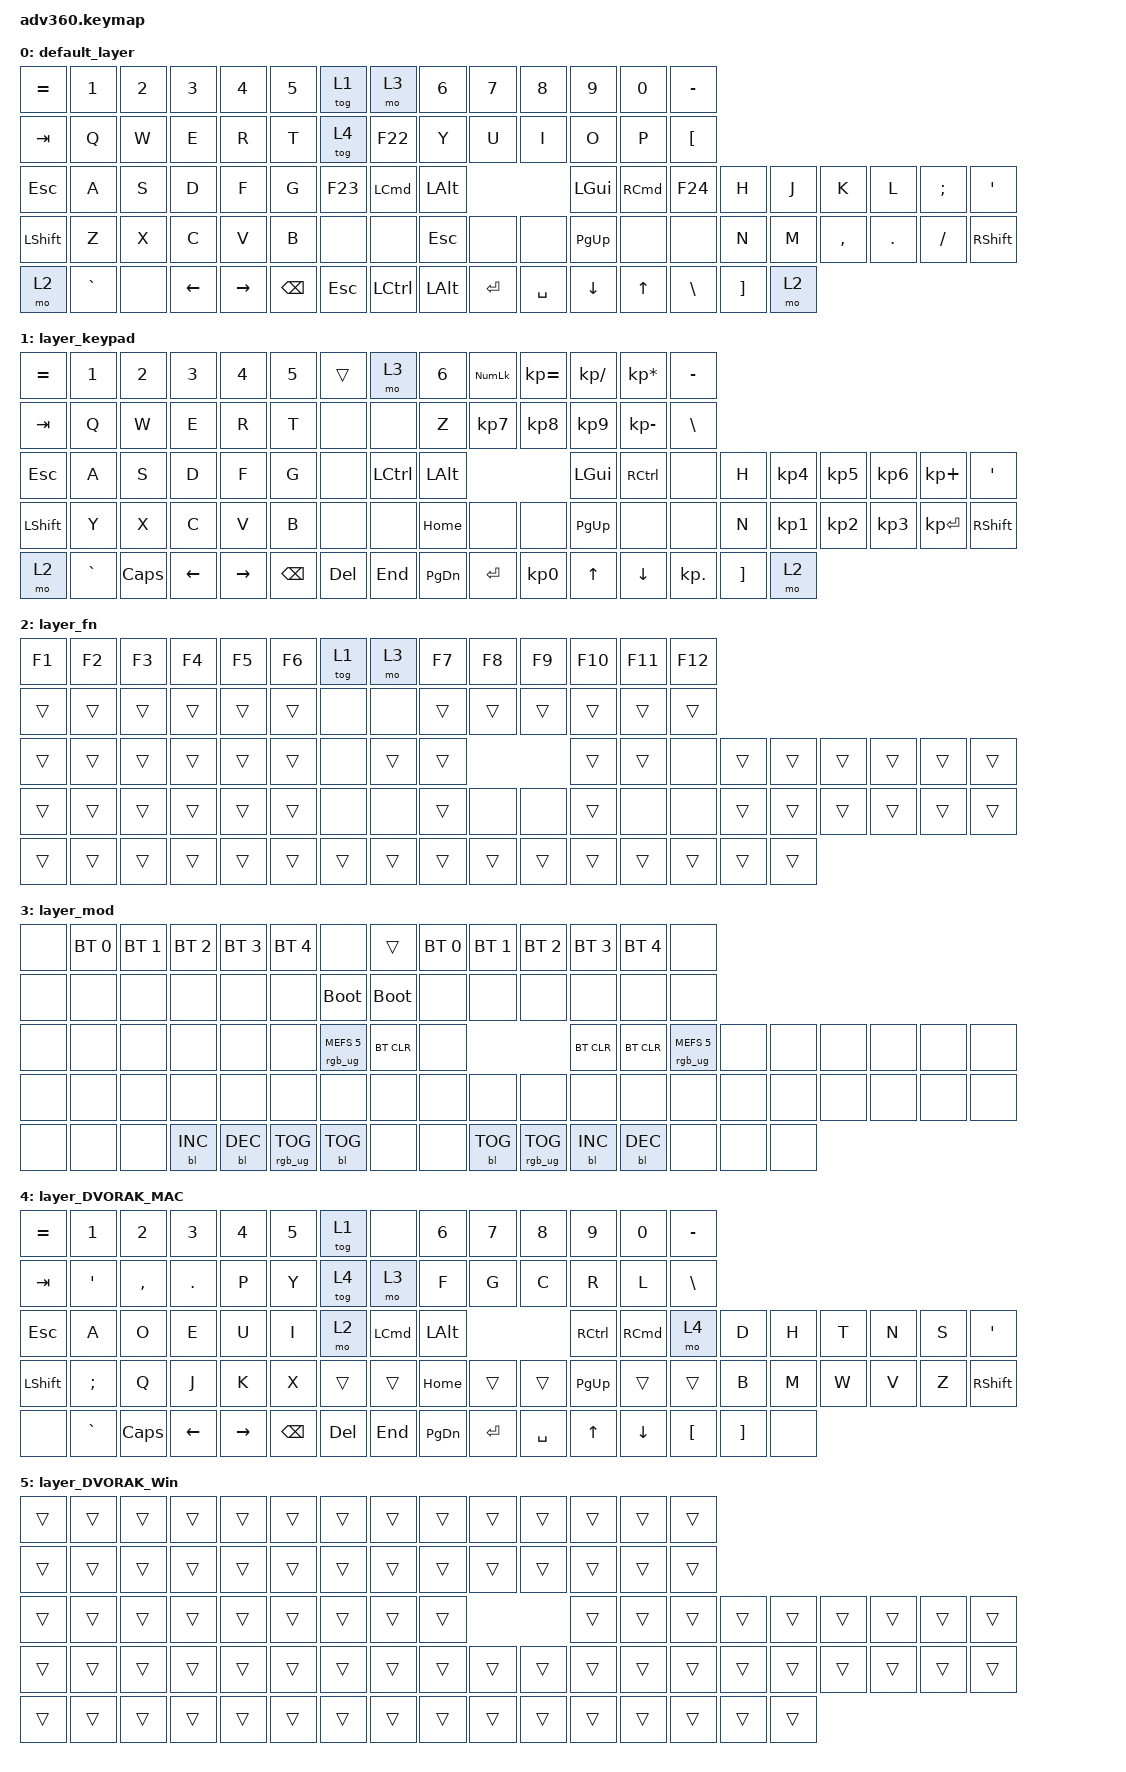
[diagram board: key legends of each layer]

/*
 * Copyright (c) 2020 The ZMK Contributors
 *
 * SPDX-License-Identifier: MIT
 */


/* THIS FILE WAS GENERATED!
 *
 * This file was generated automatically. You may or may not want to
 * edit it directly.
 */

#include <behaviors.dtsi>
#include <dt-bindings/zmk/keys.h>
#include <dt-bindings/zmk/bt.h>
#include <dt-bindings/zmk/rgb.h>
#include <dt-bindings/zmk/backlight.h>

/ {
  behaviors {
    #include "macros.dtsi"

    hm: homerow_mods {
        compatible = "zmk,behavior-hold-tap";
        label = "HOMEROW_MODS";
        #binding-cells = <2>;
        tapping-term-ms = <200>;
        quick_tap_ms = <175>;
        flavor = "tap-preferred";
        bindings = <&kp>, <&kp>;
    };
  };

    keymap {
        compatible = "zmk,keymap";


        default_layer {
            bindings = <
 &kp EQUAL     &kp N1  &kp N2    &kp N3     &kp N4    &kp N5             &tog 1             &mo 3      &kp N6     &kp N7     &kp N8     &kp N9             &kp N0         &kp MINUS
   &kp TAB      &kp Q   &kp W     &kp E      &kp R     &kp T             &tog 4           &kp F22       &kp Y      &kp U      &kp I      &kp O              &kp P  &kp LEFT_BRACKET
   &kp ESC      &kp A   &kp S     &kp D      &kp F     &kp G            &kp F23  &kp LEFT_COMMAND    &kp LALT                         &kp LGUI  &kp RIGHT_COMMAND           &kp F24     &kp H   &kp J      &kp K    &kp L  &kp SEMI    &kp SQT
 &kp LSHFT      &kp Z   &kp X     &kp C      &kp V     &kp B              &none             &none  &kp ESCAPE      &none      &none  &kp PG_UP              &none             &none     &kp N   &kp M  &kp COMMA  &kp DOT  &kp FSLH  &kp RSHFT
     &mo 2  &kp GRAVE   &none  &kp LEFT  &kp RIGHT  &kp BSPC            &kp ESC  &kp LEFT_CONTROL    &kp LALT  &kp ENTER  &kp SPACE   &kp DOWN             &kp UP     &kp BACKSLASH  &kp RBKT   &mo 2
            >;
        };

        layer_keypad {
            bindings = <
 &kp EQUAL     &kp N1    &kp N2    &kp N3     &kp N4    &kp N5             &trans      &mo 3     &kp N6  &kp KP_NUM  &kp KP_EQUAL  &kp KP_DIVIDE  &kp KP_MULTIPLY   &kp MINUS
   &kp TAB      &kp Q     &kp W     &kp E      &kp R     &kp T              &none      &none      &kp Z   &kp KP_N7     &kp KP_N8      &kp KP_N9     &kp KP_MINUS    &kp BSLH
   &kp ESC      &kp A     &kp S     &kp D      &kp F     &kp G              &none  &kp LCTRL   &kp LALT                                 &kp LGUI        &kp RCTRL       &none     &kp H  &kp KP_N4  &kp KP_N5  &kp KP_N6   &kp KP_PLUS    &kp SQT
 &kp LSHFT      &kp Y     &kp X     &kp C      &kp V     &kp B              &none      &none   &kp HOME       &none         &none      &kp PG_UP            &none       &none     &kp N  &kp KP_N1  &kp KP_N2  &kp KP_N3  &kp KP_ENTER  &kp RSHFT
     &mo 2  &kp GRAVE  &kp CAPS  &kp LEFT  &kp RIGHT  &kp BSPC            &kp DEL    &kp END  &kp PG_DN   &kp ENTER     &kp KP_N0         &kp UP         &kp DOWN  &kp KP_DOT  &kp RBKT      &mo 2
            >;
        };

        layer_fn {
            bindings = <
 &kp F1  &kp F2  &kp F3  &kp F4  &kp F5  &kp F6            &tog 1   &mo 3  &kp F7  &kp F8  &kp F9  &kp F10  &kp F11  &kp F12
 &trans  &trans  &trans  &trans  &trans  &trans             &none   &none  &trans  &trans  &trans   &trans   &trans   &trans
 &trans  &trans  &trans  &trans  &trans  &trans             &none  &trans  &trans                   &trans   &trans    &none  &trans  &trans  &trans  &trans  &trans  &trans
 &trans  &trans  &trans  &trans  &trans  &trans             &none   &none  &trans   &none   &none   &trans    &none    &none  &trans  &trans  &trans  &trans  &trans  &trans
 &trans  &trans  &trans  &trans  &trans  &trans            &trans  &trans  &trans  &trans  &trans   &trans   &trans   &trans  &trans  &trans
            >;
        };

        layer_mod {
            bindings = <
  &none  &bt BT_SEL 0  &bt BT_SEL 1  &bt BT_SEL 2  &bt BT_SEL 3     &bt BT_SEL 4                             &none       &trans  &bt BT_SEL 0  &bt BT_SEL 1     &bt BT_SEL 2  &bt BT_SEL 3  &bt BT_SEL 4                   &none
  &none         &none         &none         &none         &none            &none                       &bootloader  &bootloader         &none         &none            &none         &none         &none                   &none
  &none         &none         &none         &none         &none            &none            &rgb_ug RGB_MEFS_CMD 5   &bt BT_CLR         &none                                   &bt BT_CLR    &bt BT_CLR  &rgb_ug RGB_MEFS_CMD 5   &none   &none   &none   &none   &none   &none
  &none         &none         &none         &none         &none            &none                             &none        &none         &none         &none            &none         &none         &none                   &none   &none   &none   &none   &none   &none   &none
  &none         &none         &none    &bl BL_INC    &bl BL_DEC  &rgb_ug RGB_TOG                        &bl BL_TOG        &none         &none    &bl BL_TOG  &rgb_ug RGB_TOG    &bl BL_INC    &bl BL_DEC                   &none   &none   &none
            >;
        };

        layer_DVORAK_MAC {
            bindings = <
  &kp EQUAL     &kp N1     &kp N2    &kp N3     &kp N4         &kp N5             &tog 1             &none         &kp N6     &kp N7     &kp N8             &kp N9             &kp N0      &kp MINUS
    &kp TAB    &kp SQT  &kp COMMA   &kp DOT      &kp P          &kp Y             &tog 4             &mo 3          &kp F      &kp G      &kp C              &kp R              &kp L  &kp BACKSLASH
    &kp ESC      &kp A      &kp O     &kp E      &kp U          &kp I              &mo 2  &kp LEFT_COMMAND   &kp LEFT_ALT                        &kp RIGHT_CONTROL  &kp RIGHT_COMMAND          &mo 4     &kp D   &kp H   &kp T   &kp N   &kp S     &kp SQT
 &kp LSHIFT   &kp SEMI      &kp Q     &kp J      &kp K          &kp X             &trans            &trans       &kp HOME     &trans     &trans        &kp PAGE_UP             &trans         &trans     &kp B   &kp M   &kp W   &kp V   &kp Z  &kp RSHIFT
      &none  &kp GRAVE   &kp CAPS  &kp LEFT  &kp RIGHT  &kp BACKSPACE            &kp DEL           &kp END  &kp PAGE_DOWN  &kp ENTER  &kp SPACE             &kp UP           &kp DOWN       &kp LBKT  &kp RBKT   &none
            >;
        };

        layer_DVORAK_Win {
            bindings = <
 &trans  &trans  &trans  &trans  &trans  &trans            &trans  &trans  &trans  &trans  &trans  &trans  &trans  &trans
 &trans  &trans  &trans  &trans  &trans  &trans            &trans  &trans  &trans  &trans  &trans  &trans  &trans  &trans
 &trans  &trans  &trans  &trans  &trans  &trans            &trans  &trans  &trans                  &trans  &trans  &trans  &trans  &trans  &trans  &trans  &trans  &trans
 &trans  &trans  &trans  &trans  &trans  &trans            &trans  &trans  &trans  &trans  &trans  &trans  &trans  &trans  &trans  &trans  &trans  &trans  &trans  &trans
 &trans  &trans  &trans  &trans  &trans  &trans            &trans  &trans  &trans  &trans  &trans  &trans  &trans  &trans  &trans  &trans
            >;
        };

    };
};
